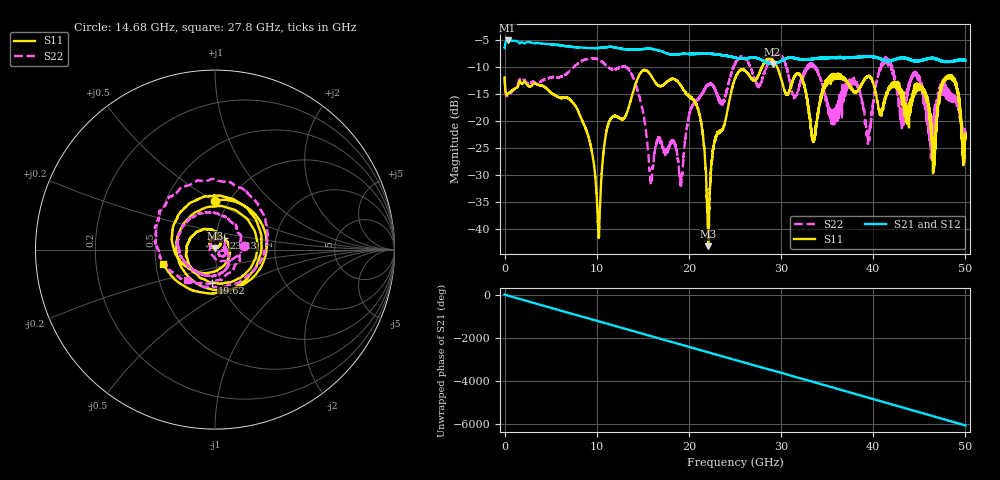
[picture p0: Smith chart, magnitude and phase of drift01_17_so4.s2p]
!Created with skrf (http://scikit-rf.org).
# Hz S RI R 50.0
!freq ReS11 ImS11 ReS21 ImS21 ReS12 ImS12 ReS22 ImS22
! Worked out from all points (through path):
!   10001 points, 300 kHz to 50 GHz, reference 50 ohm
!   highest |S21| = -5.05 dB at 325.3 MHz (marker M1); lowest = -9.4 dB at 29.08 GHz (marker M2)
!   group delay of S21, straight-line fit = 336 ps
!   lowest |S11| = -43.2 dB at 22.09 GHz (marker M3), VSWR 1.01, Z = 49.9 + j0.68 ohm
!   |S11| at or under -10 dB: start of sweep to 27.92 GHz; 27.9243 GHz to 27.92581 GHz (1.514 MHz wide, 0.00542 % of centre); 29.58 GHz to end of sweep
!   |S22| runs from -32.0 to -7.4 dB; largest |S21 - S12| = 0.011
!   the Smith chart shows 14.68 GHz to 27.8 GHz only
!   S11 on the Smith chart (normalised r, x): 14.68 GHz: 0.87, +0.51; 19.62 GHz: 0.91, -0.35; 23.23 GHz: 1.09, +0.14; 27.8 GHz: 0.55, -0.10
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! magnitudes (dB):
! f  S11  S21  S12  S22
! 300 kHz  -11.9  -6.5  -6.5  -11.8
! 325.3 MHz  -15.0  -5.1  -5.1  -15.3
! 8.335 GHz  -19.6  -6.4  -6.4  -8.9
! 10.2 GHz  -41.1  -6.4  -6.4  -8.6
! 11.24 GHz  -20.7  -6.3  -6.2  -10.0
! 14.68 GHz  -11.3  -6.7  -6.6  -15.8
! 15.87 GHz  -11.5  -6.6  -6.6  -31.3
! 16.67 GHz  -13.4  -6.9  -6.9  -23.2
! 19.62 GHz  -14.7  -7.5  -7.5  -23.1
! 21.23 GHz  -19.5  -7.5  -7.5  -15.6
! 22.09 GHz  -43.2  -7.5  -7.5  -13.2
! 23.23 GHz  -22.0  -7.7  -7.7  -15.7
! 25 GHz  -12.1  -8.3  -8.3  -9.4
! 27.8 GHz  -10.5  -8.6  -8.6  -12.8
! 29.08 GHz  -8.7  -9.4  -9.4  -7.9
! 33.34 GHz  -22.9  -8.5  -8.5  -9.5
! 39.47 GHz  -11.6  -8.1  -8.0  -22.5
! 41.67 GHz  -13.8  -8.8  -8.7  -8.9
! 45.36 GHz  -14.1  -8.7  -8.7  -14.2
! 46.55 GHz  -26.7  -8.3  -8.3  -19.7
! 48.52 GHz  -11.9  -8.9  -9.0  -15.2
! 50 GHz  -22.7  -8.7  -8.7  -22.7
